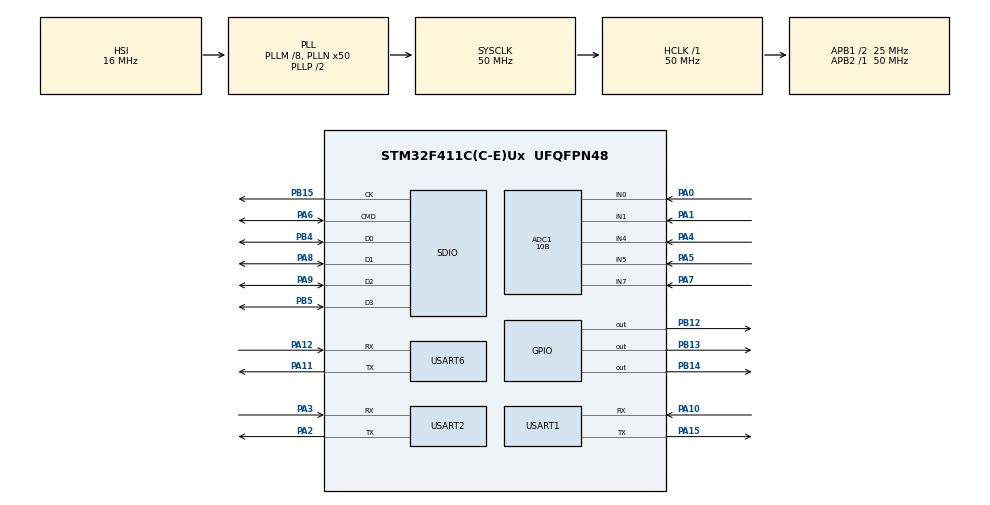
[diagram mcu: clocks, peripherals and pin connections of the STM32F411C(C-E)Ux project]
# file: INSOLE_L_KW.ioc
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Mcu.Family=STM32F4
PA6.Mode=SD_4_bits_Wide_bus
ADC1.Rank-14\#ChannelRegularConversion=5
Dma.USART6_RX.3.PeriphDataAlignment=DMA_PDATAALIGN_BYTE
RCC.CortexFreq_Value=50000000
Dma.SDIO_RX.1.PeriphDataAlignment=DMA_PDATAALIGN_WORD
ADC1.ContinuousConvMode=ENABLE
VP_FATFS_VS_SDIO.Mode=SDIO
Dma.SDIO_RX.1.Mode=DMA_PFCTRL
Dma.SDIO_RX.1.Direction=DMA_PERIPH_TO_MEMORY
PA11.Mode=Asynchronous
Dma.SDIO_RX.1.Priority=DMA_PRIORITY_LOW
FREERTOS.configTICK_RATE_HZ=1000
ADC1.SamplingTime-12\#ChannelRegularConversion=ADC_SAMPLETIME_112CYCLES
PB13.Signal=GPIO_Output
PB15.Signal=SDIO_CK
ADC1.Channel-14\#ChannelRegularConversion=ADC_CHANNEL_7
TIM4.TIM_MasterOutputTrigger=TIM_TRGO_RESET
RCC.SYSCLKSource=RCC_SYSCLKSOURCE_PLLCLK
ProjectManager.StackSize=0x4000
Dma.SDIO_RX.1.Instance=DMA2_Stream3
Dma.SDIO_TX.2.Mode=DMA_PFCTRL
PA12.Signal=USART6_RX
Dma.USART6_RX.3.Priority=DMA_PRIORITY_LOW
Dma.SDIO_TX.2.MemDataAlignment=DMA_MDATAALIGN_WORD
ADC1.Channel-5\#ChannelRegularConversion=ADC_CHANNEL_0
NVIC.TIM5_IRQn=true\:0\:0\:false\:false\:true\:false\:false\:true
RCC.HCLKFreq_Value=50000000
ADC1.Resolution=ADC_RESOLUTION_10B
RCC.APB2TimFreq_Value=50000000
Dma.SDIO_RX.1.FIFOMode=DMA_FIFOMODE_ENABLE
Dma.ADC1.0.Direction=DMA_PERIPH_TO_MEMORY
ADC1.InjNumberOfConversion=0
Dma.USART6_RX.3.Direction=DMA_PERIPH_TO_MEMORY
NVIC.DMA2_Stream0_IRQn=true\:5\:0\:false\:false\:true\:true\:false\:true
Dma.ADC1.0.MemDataAlignment=DMA_MDATAALIGN_HALFWORD
RCC.AHBFreq_Value=50000000
RCC.HSE_VALUE=8000000
PA15.Mode=Asynchronous
PA6.GPIO_PuPd=GPIO_PULLUP
PB4.Mode=SD_4_bits_Wide_bus
Dma.USART6_RX.3.MemDataAlignment=DMA_MDATAALIGN_BYTE
Dma.ADC1.0.PeriphInc=DMA_PINC_DISABLE
PB5.Mode=SD_4_bits_Wide_bus
Dma.SDIO_TX.2.Direction=DMA_MEMORY_TO_PERIPH
PA8.Signal=SDIO_D1
SH.ADCx_IN0.0=ADC1_IN0,IN0
TIM4.Period=10-1
VP_FREERTOS_VS_CMSIS_V1.Mode=CMSIS_V1
Mcu.Package=UFQFPN48
PA6.Signal=SDIO_CMD
NVIC.TimeBase=TIM5_IRQn
USART2.VirtualMode=VM_ASYNC
USART6.VirtualMode=VM_ASYNC
ADC1.SamplingTime-13\#ChannelRegularConversion=ADC_SAMPLETIME_112CYCLES
Dma.SDIO_TX.2.PeriphBurst=DMA_PBURST_INC4
NVIC.TimeBaseIP=TIM5
PA10.Signal=USART1_RX
PA15.Signal=USART1_TX
Dma.SDIO_RX.1.PeriphBurst=DMA_PBURST_INC4
SH.ADCx_IN1.0=ADC1_IN1,IN1
Dma.Request2=SDIO_TX
Dma.Request1=SDIO_RX
RCC.APB1TimFreq_Value=50000000
Dma.Request3=USART6_RX
Dma.ADC1.0.FIFOMode=DMA_FIFOMODE_DISABLE
NVIC.USART1_IRQn=true\:5\:0\:false\:false\:true\:true\:true\:true
Dma.Request0=ADC1
Dma.SDIO_TX.2.FIFOThreshold=DMA_FIFO_THRESHOLD_FULL
PB4.Signal=SDIO_D0
PA3.Signal=USART2_RX
ADC1.Channel-10\#ChannelRegularConversion=ADC_CHANNEL_1
Dma.SDIO_TX.2.MemInc=DMA_MINC_ENABLE
Dma.ADC1.0.Instance=DMA2_Stream0
FREERTOS.Tasks01=defaultTask,0,128,StartDefaultTask,Default,NULL
PA10.Mode=Asynchronous
ADC1.Rank-10\#ChannelRegularConversion=2
VP_SYS_VS_tim5.Mode=TIM5
Dma.SDIO_TX.2.Instance=DMA2_Stream6
NVIC.DMA2_Stream1_IRQn=true\:5\:0\:false\:false\:true\:true\:false\:true
ADC1.Channel-13\#ChannelRegularConversion=ADC_CHANNEL_5
RCC.APB1CLKDivider=RCC_HCLK_DIV2
PA9.GPIO_PuPd=GPIO_PULLUP
NVIC.SDIO_IRQn=true\:5\:0\:false\:false\:true\:true\:true\:true
PA0-WKUP.Signal=ADCx_IN0
Dma.SDIO_RX.1.PeriphInc=DMA_PINC_DISABLE
NVIC.USART6_IRQn=true\:5\:0\:false\:false\:true\:true\:true\:true
PA3.Mode=Asynchronous
ADC1.Rank-13\#ChannelRegularConversion=4
Dma.ADC1.0.PeriphDataAlignment=DMA_PDATAALIGN_HALFWORD
PA9.Mode=SD_4_bits_Wide_bus
ProjectManager.TargetToolchain=MDK-ARM V5
SH.ADCx_IN7.0=ADC1_IN7,IN7
Dma.ADC1.0.Mode=DMA_CIRCULAR
Dma.ADC1.0.Priority=DMA_PRIORITY_LOW
PA9.Signal=SDIO_D2
Dma.SDIO_TX.2.PeriphDataAlignment=DMA_PDATAALIGN_WORD
PB4.GPIO_PuPd=GPIO_PULLUP
SDIO.ClockDiv=3
NVIC.DMA2_Stream3_IRQn=true\:5\:0\:false\:false\:true\:true\:false\:true
NVIC.DMA2_Stream6_IRQn=true\:5\:0\:false\:false\:true\:true\:false\:true
TIM4.Prescaler=5000-1
RCC.LSE_VALUE=32768
PA1.Signal=ADCx_IN1
Dma.SDIO_RX.1.MemDataAlignment=DMA_MDATAALIGN_WORD
Dma.SDIO_RX.1.FIFOThreshold=DMA_FIFO_THRESHOLD_FULL
PB14.Signal=GPIO_Output
PA5.Signal=ADCx_IN5
board=custom
Dma.SDIO_RX.1.MemBurst=DMA_MBURST_INC4
ADC1.Rank-12\#ChannelRegularConversion=3
RCC.VCOOutputFreq_Value=100000000
PB15.Mode=SD_4_bits_Wide_bus
ADC1.SamplingTime-14\#ChannelRegularConversion=ADC_SAMPLETIME_112CYCLES
Dma.USART6_RX.3.PeriphInc=DMA_PINC_DISABLE
ADC1.Channel-12\#ChannelRegularConversion=ADC_CHANNEL_4
RCC.APB2Freq_Value=50000000
Dma.USART6_RX.3.Mode=DMA_CIRCULAR
SH.ADCx_IN4.0=ADC1_IN4,IN4
ADC1.DMAContinuousRequests=ENABLE
ADC1.SamplingTime-10\#ChannelRegularConversion=ADC_SAMPLETIME_112CYCLES
ADC1.NbrOfConversion=5
Mcu.Name=STM32F411C(C-E)Ux
PA2.Signal=USART2_TX
Dma.SDIO_TX.2.Priority=DMA_PRIORITY_LOW
FATFS._MAX_SS=4096
RCC.48MHZClocksFreq_Value=33333333.333333332
PA4.Signal=ADCx_IN4
RCC.SYSCLKFreq_VALUE=50000000
PB5.Signal=SDIO_D3
ADC1.master=1
PA12.Mode=Asynchronous
PB5.GPIO_PuPd=GPIO_PULLUP
USART1.VirtualMode=VM_ASYNC
PA11.Signal=USART6_TX
Dma.ADC1.0.MemInc=DMA_MINC_ENABLE
Dma.SDIO_TX.2.MemBurst=DMA_MBURST_INC4
Dma.USART6_RX.3.Instance=DMA2_Stream1
ProjectManager.HeapSize=0x2000
Dma.SDIO_RX.1.MemInc=DMA_MINC_ENABLE
Dma.SDIO_TX.2.FIFOMode=DMA_FIFOMODE_ENABLE
Dma.USART6_RX.3.FIFOMode=DMA_FIFOMODE_DISABLE
ADC1.SamplingTime-5\#ChannelRegularConversion=ADC_SAMPLETIME_112CYCLES
RCC.HSI_VALUE=16000000
PA8.GPIO_PuPd=GPIO_PULLUP
SH.ADCx_IN5.0=ADC1_IN5,IN5
VP_TIM4_VS_ClockSourceINT.Mode=Internal
Dma.USART6_RX.3.MemInc=DMA_MINC_ENABLE
RCC.PLLQ=3
NVIC.PriorityGroup=NVIC_PRIORITYGROUP_4
ADC1.NbrOfConversionFlag=1
RCC.PLLM=8
RCC.PLLN=50
PA2.Mode=Asynchronous
Dma.SDIO_TX.2.PeriphInc=DMA_PINC_DISABLE
PA8.Mode=SD_4_bits_Wide_bus
NVIC.TIM4_IRQn=true\:5\:0\:false\:false\:true\:true\:true\:true
RCC.APB1Freq_Value=25000000
VP_CRC_VS_CRC.Mode=CRC_Activate
ADC1.Rank-5\#ChannelRegularConversion=1
PB12.Signal=GPIO_Output
PA7.Signal=ADCx_IN7

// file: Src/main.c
/* USER CODE BEGIN Header */

/*Definition in INSOLE Device Comm system
DATASET :
INSOLE_L : 10BYTE(FSR) + 4BYTE(ST/ED) + 6BYTE(UWB) + 2BYTE(CRC) = 22BYTE
***INSOLE_L : 10BYTE(FSR) + 4BYTE(ST/ED) + 12BYTE(UWB) + 2BYTE(CRC) = 28BYTE
ver2by2 : 10BYTE(FSR) + 4BYTE(ST/ED) + 8BYTE(UWB) + 2BYTE(CRC) = 24BYTE

data set equilz
INSOLE_R : 20BYTE(FSR) + 4BYTE(ST/ED) + 12BYTE(UWB) + 2BYTE(CRC)= 38BYTE
***INSOLE_R : 20BYTE(FSR) + 4BYTE(ST/ED) + 24BYTE(UWB) + 2BYTE(CRC)= 50BYTE

IMU      : 2Byte(TMR) + 20BYTE(FSR) + 18BYTE(IMU) + 12BYTE(UWB) + 4BYTE(ST/ED) + 2BYTE(CRC) = 58BYTE
***IMU      : 2Byte(TMR) + 20BYTE(FSR) + 18BYTE(IMU) + 24BYTE(UWB) + 4BYTE(ST/ED) + 2BYTE(CRC) = 70BYTE

*/

/**
  ******************************************************************************
  * @file           : main.c
  * @brief          : Main program body
  ******************************************************************************
  * @attention
  *
  * <h2><center>&copy; Copyright (c) 2020 STMicroelectronics.
  * All rights reserved.</center></h2>
  *
  * This software component is licensed by ST under Ultimate Liberty license
  * SLA0044, the "License"; You may not use this file except in compliance with
  * the License. You may obtain a copy of the License at:
  *                             www.st.com/SLA0044
  *
  ******************************************************************************
  */
/* USER CODE END Header */

#include "main.h"
#include "cmsis_os.h"
#include "fatfs.h"

/* USER CODE BEGIN Includes */
#include <stdio.h>
#include <string.h>
#include <stdbool.h>
/* USER CODE END Includes */

ADC_HandleTypeDef hadc1;
DMA_HandleTypeDef hdma_adc1;
CRC_HandleTypeDef hcrc;
SD_HandleTypeDef hsd;
DMA_HandleTypeDef hdma_sdio_rx;
DMA_HandleTypeDef hdma_sdio_tx;
TIM_HandleTypeDef htim4;
UART_HandleTypeDef huart1;
UART_HandleTypeDef huart2;
UART_HandleTypeDef huart6;
DMA_HandleTypeDef hdma_usart6_rx;
osThreadId defaultTaskHandle;

void SystemClock_Config(void);
static void MX_GPIO_Init(void);
static void MX_DMA_Init(void);
static void MX_ADC1_Init(void);
static void MX_USART1_UART_Init(void);
static void MX_USART2_UART_Init(void);
static void MX_SDIO_SD_Init(void);
static void MX_TIM4_Init(void);
static void MX_USART6_UART_Init(void);
static void MX_CRC_Init(void);
void StartDefaultTask(void const * argument);

/* USER CODE BEGIN 0 */
	//Communication buffers
	uint8_t txdata[32]; // transmit data to Insole_R

	// pc recieve buffer
	uint8_t Rxbuf_ino[20] = {0,};   //rx from arduino  0xf7 0xff8short(data1 data2 data3 data4 data5 data6 data7 data8) 0xff 0xfe
	uint8_t Rxbuf_ino_p[20] = {0,}; //rx from arduino parsed
	uint8_t rxBuf_sd[9]; //rx from sd card

	//ADC dma convert array
	uint16_t adcValArray[5] = {0,};

	//crcval
	uint32_t crcArray_send[10] = {0,}; //crc calculate array
	uint16_t crcval = 0;

	//SD card variables
	extern char SDPath[4];   /* SD logical drive path */
	extern FATFS SDFatFS;    /* File system object for SD logical drive */
	extern FIL SDFile;       /* File object for SD */

	// sdcard save flag
	bool sdcard_save = false;
	bool sdcard_save_check = true;
	bool sdcard_save_ongoing = false;

	//FILE I/O operation
	FRESULT res;                                          /* FatFs function common result code */
	uint32_t byteswritten, bytesread;                     /* File write/read counts */
	uint8_t wtext[] = ""; 			      			  /* File write start buffer */
	uint8_t rtext[100];                                   /* File read buffer */

	FATFS myFATAS;
	FIL myFILE;
	UINT testByte; 										  // error detection

	//timer
	uint16_t tmr_ms=0;
	uint16_t tmr_1000ms=0;
	uint16_t svtmr_ms=0;

	bool _1000ms_flg = false;
	bool _5ms_flg = false;

	bool datasave_flg = false;
	//test
	uint8_t k = 0;
	bool datatrans_flg = false;
	bool datatest_flg = false;
	char str_testset[10];
	bool usart6_dma = true;

/* USER CODE END 0 */

int main(void)
{

  /* MCU Configuration--------------------------------------------------------*/

  /* Reset of all peripherals, Initializes the Flash interface and the Systick. */
  HAL_Init();

  /* Configure the system clock */
  SystemClock_Config();

  /* Initialize all configured peripherals */
  MX_GPIO_Init();
  MX_DMA_Init();
  MX_ADC1_Init();
  MX_USART1_UART_Init();
  MX_USART2_UART_Init();
  MX_SDIO_SD_Init();
  MX_TIM4_Init();
  MX_USART6_UART_Init();
  MX_CRC_Init();
  /* USER CODE BEGIN 2 */
  HAL_ADC_Start_DMA(&hadc1,(uint32_t *)adcValArray, 5);
  HAL_UART_Receive_IT(&huart1, (uint8_t *)rxBuf_sd, 9); //receive data from sd card

  HAL_TIM_Base_Start_IT(&htim4);
  HAL_UART_Receive_DMA(&huart6, (uint8_t *)Rxbuf_ino, 20); //interrupt mode only in the mcu data 0xff 0xff data1 data2 data3 data4 data5 data6 data7 data8 data9 data10 data11 data12 0xff 0xfe

  /* USER CODE END 2 */

  /* Create the thread(s) */
  /* definition and creation of defaultTask */
  osThreadDef(defaultTask, StartDefaultTask, osPriorityNormal, 0, 128);
  defaultTaskHandle = osThreadCreate(osThread(defaultTask), NULL);

  /* Start scheduler */
  osKernelStart();

  /* We should never get here as control is now taken by the scheduler */

  /* Infinite loop */
  while (1)
  {

  }
}

void SystemClock_Config(void)
{
  RCC_OscInitTypeDef RCC_OscInitStruct = {0};
  RCC_ClkInitTypeDef RCC_ClkInitStruct = {0};

  /** Configure the main internal regulator output voltage
  */
  __HAL_RCC_PWR_CLK_ENABLE();
  __HAL_PWR_VOLTAGESCALING_CONFIG(PWR_REGULATOR_VOLTAGE_SCALE1);
  /** Initializes the CPU, AHB and APB busses clocks
  */
  RCC_OscInitStruct.OscillatorType = RCC_OSCILLATORTYPE_HSI;
  RCC_OscInitStruct.HSIState = RCC_HSI_ON;
  RCC_OscInitStruct.HSICalibrationValue = RCC_HSICALIBRATION_DEFAULT;
  RCC_OscInitStruct.PLL.PLLState = RCC_PLL_ON;
  RCC_OscInitStruct.PLL.PLLSource = RCC_PLLSOURCE_HSI;
  RCC_OscInitStruct.PLL.PLLM = 8;
  RCC_OscInitStruct.PLL.PLLN = 50;
  RCC_OscInitStruct.PLL.PLLP = RCC_PLLP_DIV2;
  RCC_OscInitStruct.PLL.PLLQ = 3;
  if (HAL_RCC_OscConfig(&RCC_OscInitStruct) != HAL_OK)
  {
    Error_Handler();
  }
  /** Initializes the CPU, AHB and APB busses clocks
  */
  RCC_ClkInitStruct.ClockType = RCC_CLOCKTYPE_HCLK|RCC_CLOCKTYPE_SYSCLK
                              |RCC_CLOCKTYPE_PCLK1|RCC_CLOCKTYPE_PCLK2;
  RCC_ClkInitStruct.SYSCLKSource = RCC_SYSCLKSOURCE_PLLCLK;
  RCC_ClkInitStruct.AHBCLKDivider = RCC_SYSCLK_DIV1;
  RCC_ClkInitStruct.APB1CLKDivider = RCC_HCLK_DIV2;
  RCC_ClkInitStruct.APB2CLKDivider = RCC_HCLK_DIV1;

  if (HAL_RCC_ClockConfig(&RCC_ClkInitStruct, FLASH_LATENCY_1) != HAL_OK)
  {
    Error_Handler();
  }
}

static void MX_ADC1_Init(void)
{

  ADC_ChannelConfTypeDef sConfig = {0};

  /** Configure the global features of the ADC (Clock, Resolution, Data Alignment and number of conversion)
  */
  hadc1.Instance = ADC1;
  hadc1.Init.ClockPrescaler = ADC_CLOCK_SYNC_PCLK_DIV2;
  hadc1.Init.Resolution = ADC_RESOLUTION_10B;
  hadc1.Init.ScanConvMode = ENABLE;
  hadc1.Init.ContinuousConvMode = ENABLE;
  hadc1.Init.DiscontinuousConvMode = DISABLE;
  hadc1.Init.ExternalTrigConvEdge = ADC_EXTERNALTRIGCONVEDGE_NONE;
  hadc1.Init.ExternalTrigConv = ADC_SOFTWARE_START;
  hadc1.Init.DataAlign = ADC_DATAALIGN_RIGHT;
  hadc1.Init.NbrOfConversion = 5;
  hadc1.Init.DMAContinuousRequests = ENABLE;
  hadc1.Init.EOCSelection = ADC_EOC_SINGLE_CONV;
  if (HAL_ADC_Init(&hadc1) != HAL_OK)
  {
    Error_Handler();
  }
  /** Configure for the selected ADC regular channel its corresponding rank in the sequencer and its sample time.
  */
  sConfig.Channel = ADC_CHANNEL_0;
  sConfig.Rank = 1;
  sConfig.SamplingTime = ADC_SAMPLETIME_112CYCLES;
  if (HAL_ADC_ConfigChannel(&hadc1, &sConfig) != HAL_OK)
  {
    Error_Handler();
  }
  /** Configure for the selected ADC regular channel its corresponding rank in the sequencer and its sample time.
  */
  sConfig.Channel = ADC_CHANNEL_1;
  sConfig.Rank = 2;
  if (HAL_ADC_ConfigChannel(&hadc1, &sConfig) != HAL_OK)
  {
    Error_Handler();
  }
  /** Configure for the selected ADC regular channel its corresponding rank in the sequencer and its sample time.
  */
  sConfig.Channel = ADC_CHANNEL_4;
  sConfig.Rank = 3;
  if (HAL_ADC_ConfigChannel(&hadc1, &sConfig) != HAL_OK)
  {
    Error_Handler();
  }
  /** Configure for the selected ADC regular channel its corresponding rank in the sequencer and its sample time.
  */
  sConfig.Channel = ADC_CHANNEL_5;
  sConfig.Rank = 4;
  if (HAL_ADC_ConfigChannel(&hadc1, &sConfig) != HAL_OK)
  {
    Error_Handler();
  }
  /** Configure for the selected ADC regular channel its corresponding rank in the sequencer and its sample time.
  */
  sConfig.Channel = ADC_CHANNEL_7;
  sConfig.Rank = 5;
  if (HAL_ADC_ConfigChannel(&hadc1, &sConfig) != HAL_OK)
  {
    Error_Handler();
  }

}

static void MX_CRC_Init(void)
{

  hcrc.Instance = CRC;
  if (HAL_CRC_Init(&hcrc) != HAL_OK)
  {
    Error_Handler();
  }

}

static void MX_SDIO_SD_Init(void)
{

  hsd.Instance = SDIO;
  hsd.Init.ClockEdge = SDIO_CLOCK_EDGE_RISING;
  hsd.Init.ClockBypass = SDIO_CLOCK_BYPASS_DISABLE;
  hsd.Init.ClockPowerSave = SDIO_CLOCK_POWER_SAVE_DISABLE;
  hsd.Init.BusWide = SDIO_BUS_WIDE_1B;
  hsd.Init.HardwareFlowControl = SDIO_HARDWARE_FLOW_CONTROL_DISABLE;
  hsd.Init.ClockDiv = 3;

}

static void MX_TIM4_Init(void)
{

  TIM_ClockConfigTypeDef sClockSourceConfig = {0};
  TIM_MasterConfigTypeDef sMasterConfig = {0};

  htim4.Instance = TIM4;
  htim4.Init.Prescaler = 5000-1;
  htim4.Init.CounterMode = TIM_COUNTERMODE_UP;
  htim4.Init.Period = 10-1;
  htim4.Init.ClockDivision = TIM_CLOCKDIVISION_DIV1;
  htim4.Init.AutoReloadPreload = TIM_AUTORELOAD_PRELOAD_DISABLE;
  if (HAL_TIM_Base_Init(&htim4) != HAL_OK)
  {
    Error_Handler();
  }
  sClockSourceConfig.ClockSource = TIM_CLOCKSOURCE_INTERNAL;
  if (HAL_TIM_ConfigClockSource(&htim4, &sClockSourceConfig) != HAL_OK)
  {
    Error_Handler();
  }
  sMasterConfig.MasterOutputTrigger = TIM_TRGO_RESET;
  sMasterConfig.MasterSlaveMode = TIM_MASTERSLAVEMODE_DISABLE;
  if (HAL_TIMEx_MasterConfigSynchronization(&htim4, &sMasterConfig) != HAL_OK)
  {
    Error_Handler();
  }

}

static void MX_USART1_UART_Init(void)
{

  huart1.Instance = USART1;
  huart1.Init.BaudRate = 115200;
  huart1.Init.WordLength = UART_WORDLENGTH_8B;
  huart1.Init.StopBits = UART_STOPBITS_1;
  huart1.Init.Parity = UART_PARITY_NONE;
  huart1.Init.Mode = UART_MODE_TX_RX;
  huart1.Init.HwFlowCtl = UART_HWCONTROL_NONE;
  huart1.Init.OverSampling = UART_OVERSAMPLING_16;
  if (HAL_UART_Init(&huart1) != HAL_OK)
  {
    Error_Handler();
  }

}

static void MX_USART2_UART_Init(void)
{

  huart2.Instance = USART2;
  huart2.Init.BaudRate = 115200;
  huart2.Init.WordLength = UART_WORDLENGTH_8B;
  huart2.Init.StopBits = UART_STOPBITS_1;
  huart2.Init.Parity = UART_PARITY_NONE;
  huart2.Init.Mode = UART_MODE_TX_RX;
  huart2.Init.HwFlowCtl = UART_HWCONTROL_NONE;
  huart2.Init.OverSampling = UART_OVERSAMPLING_16;
  if (HAL_UART_Init(&huart2) != HAL_OK)
  {
    Error_Handler();
  }

}

static void MX_USART6_UART_Init(void)
{

  huart6.Instance = USART6;
  huart6.Init.BaudRate = 115200;
  huart6.Init.WordLength = UART_WORDLENGTH_8B;
  huart6.Init.StopBits = UART_STOPBITS_1;
  huart6.Init.Parity = UART_PARITY_NONE;
  huart6.Init.Mode = UART_MODE_TX_RX;
  huart6.Init.HwFlowCtl = UART_HWCONTROL_NONE;
  huart6.Init.OverSampling = UART_OVERSAMPLING_16;
  if (HAL_UART_Init(&huart6) != HAL_OK)
  {
    Error_Handler();
  }

}

static void MX_DMA_Init(void)
{

  /* DMA controller clock enable */
  __HAL_RCC_DMA2_CLK_ENABLE();

  /* DMA interrupt init */
  /* DMA2_Stream0_IRQn interrupt configuration */
  HAL_NVIC_SetPriority(DMA2_Stream0_IRQn, 5, 0);
  HAL_NVIC_EnableIRQ(DMA2_Stream0_IRQn);
  /* DMA2_Stream1_IRQn interrupt configuration */
  HAL_NVIC_SetPriority(DMA2_Stream1_IRQn, 5, 0);
  HAL_NVIC_EnableIRQ(DMA2_Stream1_IRQn);
  /* DMA2_Stream3_IRQn interrupt configuration */
  HAL_NVIC_SetPriority(DMA2_Stream3_IRQn, 5, 0);
  HAL_NVIC_EnableIRQ(DMA2_Stream3_IRQn);
  /* DMA2_Stream6_IRQn interrupt configuration */
  HAL_NVIC_SetPriority(DMA2_Stream6_IRQn, 5, 0);
  HAL_NVIC_EnableIRQ(DMA2_Stream6_IRQn);

}

static void MX_GPIO_Init(void)
{
  GPIO_InitTypeDef GPIO_InitStruct = {0};

  /* GPIO Ports Clock Enable */
  __HAL_RCC_GPIOA_CLK_ENABLE();
  __HAL_RCC_GPIOB_CLK_ENABLE();

  /*Configure GPIO pin Output Level */
  HAL_GPIO_WritePin(GPIOB, GPIO_PIN_12|GPIO_PIN_13|GPIO_PIN_14, GPIO_PIN_RESET);

  /*Configure GPIO pins : PB12 PB13 PB14 */
  GPIO_InitStruct.Pin = GPIO_PIN_12|GPIO_PIN_13|GPIO_PIN_14;
  GPIO_InitStruct.Mode = GPIO_MODE_OUTPUT_PP;
  GPIO_InitStruct.Pull = GPIO_NOPULL;
  GPIO_InitStruct.Speed = GPIO_SPEED_FREQ_LOW;
  HAL_GPIO_Init(GPIOB, &GPIO_InitStruct);

}

/* USER CODE BEGIN 4 */
 void HAL_UART_RxCpltCallback(UART_HandleTypeDef *huart)
{
  /* Prevent unused argument(s) compilation warning */
  /* NOTE: This function should not be modified, when the callback is needed,
           the HAL_UART_RxCpltCallback could be implemented in the user file
   */
	//add ring buffer
	// data pacing and save buff to transmit array
	if(huart->Instance == USART6){
		//received search : start - start ?
		// data parse
		// dist data, power data
		char rxlen = sizeof(Rxbuf_ino);
		for(char i =0; i < rxlen; i++)
		{
			char stx = i;
			char stx_2 = (i+1)%rxlen;
			char etx = (i + rxlen - 1)%rxlen;
			char etx_2 = (i + rxlen - 2)%rxlen;
			if(Rxbuf_ino[stx] == 0xFF && Rxbuf_ino[(stx_2)] == 0xFF)
			{
				if(Rxbuf_ino[etx] == 0xFE && Rxbuf_ino[(etx_2)] == 0xFF)
				{
					for(char j =0; j < rxlen; j++){
						char k = (stx + j)%rxlen;
						Rxbuf_ino_p[j] = Rxbuf_ino[k]; // data parse AND SAVE CUR
					}

				break;
				}
			}
		}
	}

	// data received from sd card -> if received ??? data parse and save

//	if(huart->Instance == USART1){
//		uint8_t rxBuf_sd_p[9];

//		char rxlen = sizeof(rxBuf_sd);
//		for(char i =0; i < rxlen; i++)
//		{
//			char stx = i;
//			char etx = (i + rxlen - 1)%rxlen;
//			if(rxBuf_sd[stx] == '*' && rxBuf_sd[(etx)] == ';')
//			{
//					for(char j =0; j < rxlen; j++){
//						char k = (stx + j)%rxlen;
//						rxBuf_sd_p[j] = rxBuf_sd[k]; // data parse AND SAVE CUR
//					}
//				break;
//			}
//		}

//				if(rxBuf_sd_p[0] == '*' && rxBuf_sd_p[8] ==';'){
//						if(rxBuf_sd_p[1] == 's'){
//							char _txt[] = ".txt";
//							strncpy(str_testset, (const char*)rxBuf_sd+2,6);
//							strcat(str_testset,_txt);
//						//	sdcard_save = true;
//						HAL_UART_Transmit_IT(&huart2,rxBuf_sd_p,9); // data send to other bluetooth!
//						}
//						else if(rxBuf_sd_p[1] == 'e'){
//							HAL_GPIO_TogglePin(GPIOB, GPIO_PIN_14);
//						//	sdcard_save = false;
//						}
//				}
//				else{
//					memset(rxBuf_sd,0,sizeof(uint8_t)*9);
//				}
//			HAL_UART_Receive_IT(&huart1, (uint8_t *)rxBuf_sd, 9);
//
//		}

}
 void HAL_UART_TxCpltCallback(UART_HandleTypeDef *huart)
{
  /* Prevent unused argument(s) compilation warning */
  /* NOTE: This function should not be modified, when the callback is needed,
           the HAL_UART_RxCpltCallback could be implemented in the user file
   */
	//add ring buffer
	// data pacing and save buff to transmit array
	if(huart->Instance == USART1){
		datatrans_flg	= true;
	}
}
/* USER CODE END 4 */

void StartDefaultTask(void const * argument)
{
  /* init code for FATFS */
  MX_FATFS_Init();
  /* USER CODE BEGIN 5 */

//	f_mount(&SDFatFS, (TCHAR const*)SDPath, 1);
//	if(f_open(&SDFile, "test.txt", FA_CREATE_ALWAYS | FA_WRITE )== FR_OK){
//	}

  /* Infinite loop */
  for(;;)
  {

//	 	  	if(sdcard_save){
//				if(sdcard_save_check){
//					//HAL_GPIO_TogglePin(GPIOB, GPIO_PIN_14);
//					sdcard_save_check = false;
//					if(f_open(&SDFile, str_testset , FA_CREATE_ALWAYS | FA_WRITE ) == FR_OK){
//					sdcard_save_ongoing = true;
//					//HAL_GPIO_TogglePin(GPIOB, GPIO_PIN_14);
//					}
//				}
//			}
//		else{
//			if(!sdcard_save_check) {
//				f_close(&SDFile);
//				sdcard_save_check = true;
//				sdcard_save_ongoing = false;
//			}
//		}
//
//
	if(_5ms_flg) // 5ms data send
		{
		_5ms_flg = false;
		txdata[0] = 0xFF;
		txdata[1] = 0xFF;

		for(int i =0; i<5; i++){
		char a = i*2;
		txdata[2+a] = adcValArray[i] >> 8;  //hi
		txdata[3+a] = adcValArray[i] & 0xFF;//lo
		}

		for(int i =0; i < 16; i ++){
		txdata [12+i]  = Rxbuf_ino_p[2+i]; // signed short uwb data to txdata
		}
		//crc *****
		memset(crcArray_send,0,10*sizeof(crcArray_send[0])); // reset crcarraysend
		memcpy(&crcArray_send[0],&txdata[2] , 26); // reset crcarraysend 32bit
		crcval = HAL_CRC_Calculate(&hcrc,crcArray_send,7)& 0xffff; // insole_R_KR file compare!!!

		txdata[28] = crcval >> 8;
		txdata[29] = crcval & 0xff;
		txdata[30] = 0xFF;
		txdata[31] = 0xFE;

	//TRANSMIT DATA TO PC
		//	DATA SAVE TO LEFT LEG
//			if(datasave_flg){
//			for(int i =0; i<16; i++) {
//			f_printf(&SDFile, "%02x", txdata[i]);
//			}
//			f_printf(&SDFile, "\n");
//			}
//			else
//			{
//			f_close(&SDFile);
//			}

			HAL_UART_Transmit_IT(&huart1,txdata,32);  // 4byte + 18 + 10 byte(insole right)+ CRC 2  + tmr 2: 46 byte

			if(datatest_flg) // 1sec flash out
			{
				datatest_flg = false;
				HAL_GPIO_TogglePin(GPIOB,GPIO_PIN_13);
			}
		}

  }
  /* USER CODE END 5 */
}

void HAL_TIM_PeriodElapsedCallback(TIM_HandleTypeDef *htim)
{
  if (htim->Instance == TIM5) {
    HAL_IncTick();
  }
  /* USER CODE BEGIN Callback 1 */

	if (htim->Instance == TIM4) {
		tmr_ms ++;
		tmr_1000ms ++;
		svtmr_ms ++;
		if(tmr_ms%5 == 0)
		{
			k++;
			_5ms_flg = true;
			HAL_GPIO_TogglePin(GPIOB,GPIO_PIN_14);
			tmr_ms = 0;
		}
		if(tmr_1000ms%1000 == 0)
		{
			datatest_flg = true;
			tmr_1000ms = 0;
		}
		if(svtmr_ms%10000 == 0)
		{
			datasave_flg = true;
			svtmr_ms = 0;
		}

  }

  /* USER CODE END Callback 1 */
}

void Error_Handler(void)
{
}

/************************ (C) COPYRIGHT STMicroelectronics *****END OF FILE****/
